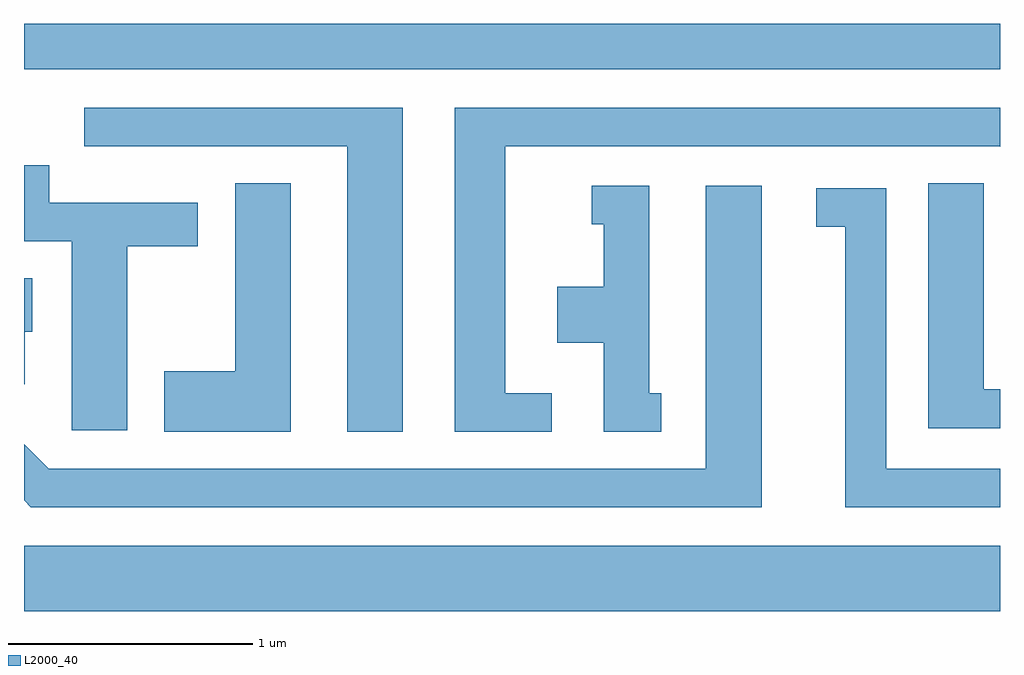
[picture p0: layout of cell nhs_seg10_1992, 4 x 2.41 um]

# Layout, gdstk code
import gdstk
lib = gdstk.Library(unit=1e-6, precision=1e-09)
def R(c, l, rs):  # rectangles x0, y0, x1, y1
    for r in rs: c.add(gdstk.rectangle(r[:2], r[2:], *l))
def P(c, l, *ps):  # polygons
    for p in ps: c.add(gdstk.Polygon(p, *l))
L2000_40 = (2000, 40)

nhs_seg10_1992 = lib.new_cell('nhs_seg10_1992')
R(nhs_seg10_1992, L2000_40, [(243.611,2136.116,247.611,2136.384), (243.611,2138.336,247.611,2138.522)])
P(nhs_seg10_1992, L2000_40, [(245.773,2137.009),(245.584,2137.009),(245.584,2138.021),(247.609,2138.021),(247.611,2138.019),(247.611,2138.179),(245.376,2138.179),(245.376,2136.851),(245.773,2136.851)],
  [(245.164,2138.179),(243.858,2138.179),(243.858,2138.021),(244.936,2138.021),(244.936,2136.851),(245.164,2136.851)],
  [(244.034,2137.611),(244.324,2137.611),(244.324,2137.789),(243.714,2137.789),(243.714,2137.943),(243.611,2137.943),(243.611,2137.631),(243.806,2137.631),(243.806,2136.856),(244.034,2136.856)],
  [(244.704,2137.869),(244.476,2137.869),(244.476,2137.099),(244.186,2137.099),(244.186,2136.851),(244.704,2136.851)],
  [(247.611,2137.024),(247.544,2137.024),(247.544,2137.869),(247.316,2137.869),(247.316,2136.866),(247.611,2136.866)],
  [(246.634,2137.859),(246.406,2137.859),(246.406,2136.699),(243.712,2136.699),(243.611,2136.8),(243.611,2136.569),(243.639,2136.541),(246.634,2136.541)],
  [(246.223,2137.009),(246.174,2137.009),(246.174,2137.859),(245.938,2137.859),(245.938,2137.701),(245.986,2137.701),(245.986,2137.444),(245.796,2137.444),(245.796,2137.216),(245.986,2137.216),(245.986,2136.851),(246.223,2136.851)],
  [(247.611,2136.699),(247.144,2136.699),(247.144,2137.849),(246.858,2137.849),(246.858,2137.691),(246.976,2137.691),(246.976,2136.541),(247.611,2136.541)],
  [(243.614,2137.261),(243.644,2137.261),(243.644,2137.479),(243.611,2137.479),(243.611,2137.046),(243.614,2137.046)])

lib.write_gds('nhs_seg10_1992.gds')
